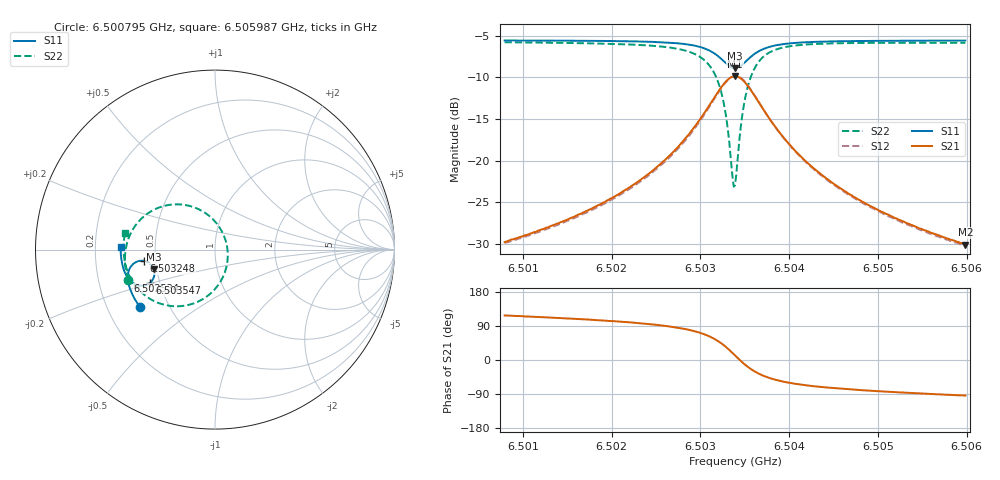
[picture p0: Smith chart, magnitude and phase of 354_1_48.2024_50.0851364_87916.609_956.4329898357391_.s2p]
#  HZ  S  RI  R  50.00
! Rohde & Schwarz Vector Network Analyzer
! Rohde-Schwarz,ZNB20-2Port,1311601062101988,3.16
! Created: UTC 3/20/2024, 11:51:55 AM
! freq[Hz]  re:S11  im:S11  re:S21  im:S21  re:S12  im:S12  re:S22  im:S22
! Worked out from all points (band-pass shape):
!   401 points, 6.500795 GHz to 6.505987 GHz, reference 50 ohm
!   highest |S21| = -9.87 dB at 6.503391 GHz (marker M1); lowest = -30.1 dB at 6.505987 GHz (marker M2)
!   |S21| within 3 dB of the highest: 6.503132 GHz to 6.503651 GHz (519 kHz wide, 0.00798 % of centre)
!   lowest |S11| = -8.9 dB at 6.503391 GHz (marker M3), VSWR 2.11, Z = 24.1 - j6.1 ohm
!   |S11| at or under -10 dB: nowhere
!   |S22| runs from -23.1 to -5.8 dB; largest |S21 - S12| = 0.011
!   S11 on the Smith chart (normalised r, x): 6.500795 GHz: 0.34, -0.30; 6.502534 GHz: 0.33, -0.15; 6.503248 GHz: 0.43, -0.06; 6.503547 GHz: 0.44, -0.20; 6.505987 GHz: 0.31, +0.01
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6.5007947e9  -0.4191 -0.3187  -0.015 0.0287  -0.0133 0.0289  -0.4852 -0.1682
6.5016645e9  -0.4576 -0.2557  -0.0146 0.0459  -0.0122 0.0458  -0.501 -0.0783
6.5021577e9  -0.4755 -0.2128  -0.0116 0.0657  -0.00881 0.0645  -0.4991 -0.0102
6.5025342e9  -0.4849 -0.1721  -0.00338 0.0936  0.00021 0.0914  -0.4815 0.0627
6.5027938e9  -0.4847 -0.1355  0.015 0.1275  0.0187 0.124  -0.443 0.1349
6.5029756e9  -0.4737 -0.1023  0.0489 0.1634  0.0523 0.1579  -0.3762 0.2005
6.5031443e9  -0.4397 -0.0693  0.1251 0.1963  0.1264 0.19  -0.2362 0.2512
6.5032482e9  -0.3978 -0.0622  0.209 0.1881  0.2092 0.1826  -0.0905 0.2247
6.5033001e9  -0.3729 -0.0704  0.2566 0.1608  0.2573 0.1561  -0.0114 0.1689
6.503365e9  -0.3465 -0.0961  0.3036 0.0988  0.306 0.0937  0.0596 0.0496
6.503391e9  -0.3403 -0.1103  0.3139 0.0673  0.3168 0.0614  0.0705 -0.00884
6.5034039e9  -0.3384 -0.1177  0.3165 0.0509  0.3196 0.0447  0.0712 -0.0389
6.5034559e9  -0.3391 -0.148  0.3112 -0.0132  0.314 -0.0219  0.0442 -0.1529
6.5034818e9  -0.3442 -0.1617  0.3003 -0.0417  0.3021 -0.0516  0.0153 -0.2007
6.5035467e9  -0.3648 -0.187  0.2587 -0.095  0.2576 -0.1058  -0.0783 -0.2817
6.5036506e9  -0.4034 -0.2017  0.1861 -0.1305  0.1807 -0.1397  -0.2245 -0.3155
6.5038193e9  -0.4487 -0.192  0.1062 -0.1281  0.0994 -0.1329  -0.3682 -0.2705
6.5040011e9  -0.4757 -0.1706  0.0627 -0.1088  0.0566 -0.111  -0.4388 -0.2071
6.5042607e9  -0.4961 -0.1405  0.0333 -0.0851  0.0287 -0.0857  -0.4816 -0.1361
6.5046631e9  -0.5121 -0.0994  0.0142 -0.062  0.0111 -0.0618  -0.504 -0.0597
6.5051304e9  -0.5211 -0.0568  0.00482 -0.0466  0.00277 -0.0459  -0.5096 0.00383
6.5059872e9  -0.5258 0.0152  -0.00201 -0.0313  -0.00335 -0.0304  -0.5012 0.0925
